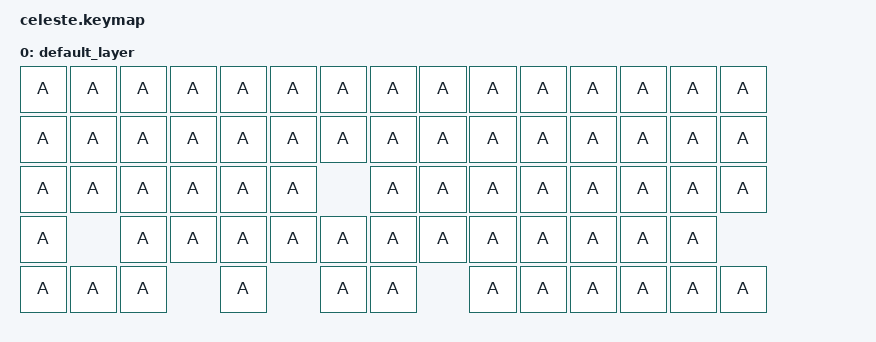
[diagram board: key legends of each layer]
#undef ZMK_BEHAVIORS_KEEP_ALL

#include <behaviors.dtsi>
#include <dt-bindings/zmk/keys.h>
#include <dt-bindings/zmk/bt.h>

/ {
  keymap {
    compatible = "zmk,keymap";
    default_layer {
      bindings = <
            &kp A &kp A &kp A &kp A &kp A &kp A &kp A &kp A &kp A &kp A &kp A &kp A &kp A &kp A &kp A
            &kp A &kp A &kp A &kp A &kp A &kp A &kp A &kp A &kp A &kp A &kp A &kp A &kp A &kp A &kp A
            &kp A &kp A &kp A &kp A &kp A &kp A       &kp A &kp A &kp A &kp A &kp A &kp A &kp A &kp A
            &kp A       &kp A &kp A &kp A &kp A &kp A &kp A &kp A &kp A &kp A &kp A &kp A &kp A
            &kp A &kp A &kp A       &kp A       &kp A &kp A       &kp A &kp A &kp A &kp A &kp A &kp A
      >;
    };
  };
};

